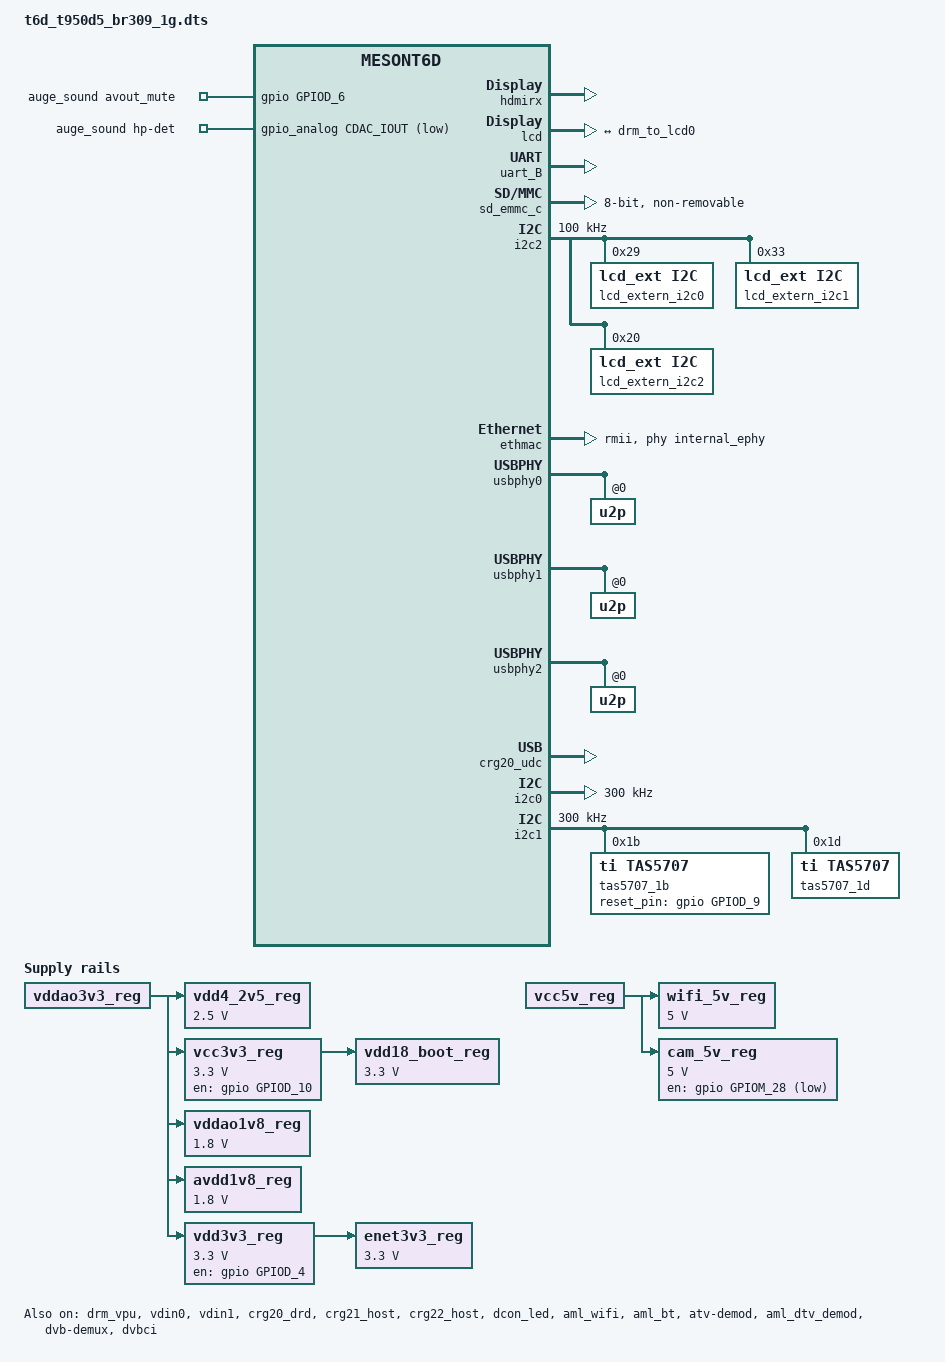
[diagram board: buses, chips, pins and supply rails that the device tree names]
// SPDX-License-Identifier: (GPL-2.0+ OR MIT)
/*
 * Copyright (c) 2019 Amlogic, Inc. All rights reserved.
 */

/dts-v1/;

#include "mesont6d.dtsi"
#include "hdr10plus.dtsi"
#include "mesont6d_drm.dtsi"
#include "firmware_ab.dtsi"
#include "mesont6d-panel.dtsi"
#include "mesont6d_audio.dtsi"

/ {
	amlogic-dt-id = "t6d_t950d5_br309-1g";
	compatible = "t6d_t950d5_br309-1g";
	interrupt-parent = <&gic>;
	#address-cells = <1>;
	#size-cells = <1>;

	aliases {
		serial0 = &uart_B;
		serial1 = &uart_A;
		serial2 = &uart_C;
		tsensor0 = &cpu_tsensor;
		tsensor1 = &top_tsensor;
		spi0 = &spi_nfc;
		spi1 = &spicc0;
		spi2 = &spicc1;
		i2c0 = &i2c0;
		i2c1 = &i2c1;
		i2c2 = &i2c2;
		i2c3 = &i2c3;
	};

	memory@0 {
		device_type = "memory";
		linux,usable-memory = <0x0 0x40000000>;
	};

	reserved-memory {
		#address-cells = <1>;
		#size-cells = <1>;
		ranges;

		/* global autoconfigured region for contiguous allocations */
		ramdump_bl33z {
			compatible = "shared-dma-pool";
			size = <0x01800000>;
			alignment = <0x00400000>;
			alloc-ranges = <0x05000000 0x07000000>;
			linux,contiguous-region;
			no-map;
			status = "disabled";
		};

		ramdump_data@0 {
			reg = <0x0 0x0>;
			status = "disabled"; /* disabled as default */
		};

		ramoops@6300000 {
			compatible = "ramoops";
			reg = <0x06300000 0x00080000>;/* addr set in uboot */
			record-size = <0x30000>;
			console-size = <0x40000>;
			ftrace-size = <0x0>;
			pmsg-size = <0x10000>;
		};

		dmc_reserved:linux,dmc_monitor {
			compatible = "amlogic,dmc_monitor-reserved";
			reg = <0x0 0x10000>;
		};

		debug_reserved:linux,iotrace {
			compatible = "amlogic, iotrace";
			reg = <0x04f00000 0x00100000>;
			io-size = <0x19800>;
			sched-size = <0x2000>;
			irq-size = <0x1000>;
			smc-size = <0x1000>;
			misc-size = <0x1000>;
			iotm-size = <0x3a980>; //240k; v1:20000; v2:15000
		};

		secmon_reserved:linux,secmon {
			compatible = "shared-dma-pool";
			no-map;
			alignment = <0x00100000>;
			reg = <0x05000000 0x01300000>;
		};

		logo_reserved:linux,meson-fb {
			compatible = "amlogic, meson-fb";
			size = <0x800000>;
			alignment = <0x400000>;
			reg = <0x3f800000 0x800000>;
		};

		lcd_cma_reserved:linux,lcd-reserved {
			compatible = "amlogic, lcd_rsvd";
			reg = <0x3f000000 0x00410000>;
			tcon-size = <0x00202840>;
		};

		dmaheap_cma_reserved:heap-gfx {
			compatible = "shared-dma-pool";
			reusable;
			/* 1080p TV android16 size 88M */
			size = <0x0>;
			alignment = <0x400000>;
		};

		dmaheap_fb_reserved:heap-fb {
			compatible = "shared-dma-pool";
			reusable;
			/* 1080p TV android16 size 28M */
			size = <0x1c00000>;
			alignment = <0x400000>;
		};

		/*  vdin0 CMA pool */
		/*vdin0_cma_reserved:linux,vdin0_cma {*/
		/*	compatible = "shared-dma-pool";*/
		/*	reusable;*/
			/* up to 1920x1080 yuv422 8bit and 5 buffers
			 * 1920x1080x2x5 = 20 M
			 */
		/*	size = <0x0 0x01400000>;*/
		/*	alignment = <0x0 0x400000>;*/
		/*};*/
		/*  vdin1 CMA pool */
		vdin1_cma_reserved:linux,vdin1_cma {
			compatible = "shared-dma-pool";
			reusable;
			size = <0x800000>;
			alignment = <0x400000>;
		};

		codec_mm_cma:linux,codec_mm_cma {
			compatible = "shared-dma-pool";
			reusable;
			/*
			 * Scenario: DVB-T2 2K interlace HE
			 * Total size: 106M
			 * Note:
			 *  setting to 108M if scatter_alloc_mode is 0.
			 *  setting to 108M if scatter_alloc_mode is 1.
			 */
			size = <0x6c00000>;
			alignment = <0x400000>;
			alloc-ranges = <0x30000000 0x10000000>;
			linux,contiguous-region;
		};

		secure_vdec_reserved:linux,secure_vdec_reserved {
			compatible = "amlogic, secure-vdec-reserved";
			no-map;
			size = <0x400000>;
			alignment = <0x100000>;
		};

		/* global autoconfigured region for contiguous allocations */
		linux,cma {
			compatible = "shared-dma-pool";
			reusable;
			size = <0x400000>;
			alignment = <0x400000>;
			alloc-ranges = <0x30000000 0x10000000>;
			linux,cma-default;
		};
	};

	vdd4_2v5_reg: fixed@vdd4_2v5_reg {
		compatible = "regulator-fixed";
		vin-supply = <&vddao3v3_reg>;
		regulator-name = "DDR4_2V5";
		regulator-min-microvolt = <2500000>;
		regulator-max-microvolt = <2500000>;
		regulator-boot-on;
		regulator-always-on;
	};

	vcc3v3_reg: fixed@vcc3v3_reg {
		vin-supply = <&vddao3v3_reg>;
		compatible = "regulator-fixed";
		regulator-name = "VCC_3V3";
		regulator-min-microvolt = <3300000>;
		regulator-max-microvolt = <3300000>;
		pinctrl-names = "default";
		gpio = <&gpio GPIOD_10 GPIO_ACTIVE_HIGH>;
		startup-delay-us = <7000>;
		enable-active-high;
		regulator-boot-on;
		regulator-always-on;
	};

	vddao1v8_reg: fixed@vddao1v8_reg {
		vin-supply = <&vddao3v3_reg>;
		compatible = "regulator-fixed";
		regulator-name = "VDDAO_1V8";
		regulator-min-microvolt = <1800000>;
		regulator-max-microvolt = <1800000>;
		regulator-boot-on;
		regulator-always-on;
	};

	vdd18_boot_reg: fixed@vdd18_boot_reg {
		vin-supply = <&vcc3v3_reg>;
		compatible = "regulator-fixed";
		regulator-name = "VDD18_BOOT";
		regulator-min-microvolt = <3300000>;
		regulator-max-microvolt = <3300000>;
		regulator-boot-on;
		regulator-always-on;
	};

	avdd1v8_reg: fixed@avdd1v8_reg {
		vin-supply = <&vddao3v3_reg>;
		compatible = "regulator-fixed";
		regulator-name = "AVDD1V8";
		regulator-min-microvolt = <1800000>;
		regulator-max-microvolt = <1800000>;
		regulator-boot-on;
		regulator-always-on;
	};

	vdd3v3_reg: fixed@vdd3v3_reg {
		vin-supply = <&vddao3v3_reg>;
		compatible = "regulator-fixed";
		regulator-name = "VDD_3V3";
		regulator-min-microvolt = <3300000>;
		regulator-max-microvolt = <3300000>;
		pinctrl-names = "default";
		gpio = <&gpio GPIOD_4 GPIO_ACTIVE_HIGH>;
		startup-delay-us = <7000>;
		enable-active-high;
		regulator-boot-on;
		regulator-always-on;
	};

	enet3v3_reg: fixed@enet3v3_reg {
		vin-supply = <&vdd3v3_reg>;
		compatible = "regulator-fixed";
		regulator-name = "AVDD33_ENET";
		regulator-min-microvolt = <3300000>;
		regulator-max-microvolt = <3300000>;
		regulator-boot-on;
		regulator-always-on;
	};

	wifi_5v_reg: fixed@wifi_5v_reg {
		compatible = "regulator-fixed";
		vin-supply = <&vcc5v_reg>;
		regulator-name = "WIFI_5V";
		regulator-min-microvolt = <5000000>;
		regulator-max-microvolt = <5000000>;
		regulator-boot-on;
		regulator-always-on;
	};

	cam_5v_reg: fixed@cam_5v_reg {
		compatible = "regulator-fixed";
		vin-supply = <&vcc5v_reg>;
		regulator-name = "CAM_5V_EN";
		regulator-min-microvolt = <5000000>;
		regulator-max-microvolt = <5000000>;
		//gpio OD , Default OFF
		gpio = <&gpio GPIOM_28 (GPIO_ACTIVE_HIGH | GPIO_OPEN_DRAIN)>;
		startup-delay-us = <7000>;
		enable-active-low;
		regulator-boot-on;
		//regulator-always-on;
	};

	multi-di {
		/***************************************************
		 * memory: default is 4
		 *	0:use reserved;
		 *	1:use cma;
		 *	2:use cma as reserved
		 *  4:use codec mem
		 ***************************************************/
		flag_cma = <4>;//
		//memory-region = <&di_cma_reserved>;
		/***************************************************
		 * clock-range: <min max>
		 *	default: <334 667>
		 ***************************************************/
		//clock-range = <334 667>;
		/***************************************************
		 * en_4k: t5w support 4k
		 ***************************************************/
		//en_4k = <1>;
		//keep_dec_vf = <2>;
		//po_fmt = <6>;
		/***************************************************
		 * post_nub: default is 11 (T7/T3/SC2/S4 new path)
		 * local 7*4075520 = 28
		 * post 11*5222400 = 56 //??
		 ***************************************************/
		post_nub = <11>;
		/***************************************************
		 * 0:not support
		 * bit 0: for 4k
		 * bit 1: for 1080p
		 ***************************************************/
		//alloc_sct = <1>;
		/***************************************************
		 * hf: default is 0 (T7/T3/SC2/S4 new path)
		 * 0:not enable;
		 * 1: enable
		 ***************************************************/
		hf = <0>;
		//afbce_loss_en = <1>;
		/***************************************************
		 * loss mode for di out (T5w)
		 * 0:not set loss mode for di out;
		 * 1:1:check the loss flag in vf and set for di
		 ***************************************************/
	};/* end of multi-di */

	/* for external keypad */
	adc_keypad {
		compatible = "amlogic, adc_keypad";
		status = "disabled";
		key_name = "power", "vol-", "vol+", "ok", "menu",
			   "source", "exit";
		key_num = <7>;
		io-channels = <&saradc SARADC_CH1>, <&saradc SARADC_CH2>;
		io-channel-names = "key-chan-1", "key-chan-2";
		key_chan = <SARADC_CH1 SARADC_CH1 SARADC_CH1 SARADC_CH1
			    SARADC_CH2 SARADC_CH2 SARADC_CH2>;
		key_code = <KEY_POWER KEY_VOLUMEDOWN KEY_VOLUMEUP KEY_ENTER
			    KEY_MENU KEY_FN_F1 KEY_EXIT>;
		key_val = <0 252 468 684 0 252 468>; // Unit: millivolt
		key_tolerance = <70 70 70 70 70 70 70>; // Unit: millivolt
	};

	/* Audio Related start */
	auge_sound {
		compatible = "amlogic, auge-sound-card";
		aml-audio-card,name = "AML-AUGESOUND";
		avout_mute-gpios = <&gpio GPIOD_6 GPIO_ACTIVE_HIGH>;
		av_mute_sleep_time = <600>;
		/* headphone insert det */
		hp-det-gpios = <&gpio_analog CDAC_IOUT GPIO_ACTIVE_LOW>;
		interrupts = <GIC_SPI 149 IRQ_TYPE_EDGE_RISING>;
		interrupt-names = "audio_exception64";

		aml-audio-card,dai-link@0 {
			format = "i2s";
			mclk-fs = <256>;
			//continuous-clock;
			//bitclock-inversion;
			//frame-inversion;
			/* master mode */
			bitclock-master = <&tdma>;
			frame-master = <&tdma>;
			/* slave mode */
			/*
			 * bitclock-master = <&tdmacodec>;
			 * frame-master = <&tdmacodec>;
			 */
			/* suffix-name, sync with android audio hal used for */
			suffix-name = "alsaPORT-pcm";
			tdmacpu: cpu {
				sound-dai = <&tdma>;
				dai-tdm-slot-tx-mask =
							<1 1>;
				dai-tdm-slot-rx-mask =
							<1 1>;
				dai-tdm-slot-num = <2>;
				dai-tdm-slot-width = <32>;
				system-clock-frequency = <12288000>;
			};
			tdmacodec: codec {
				sound-dai = <&dummy_codec>;
			};
		};

		aml-audio-card,dai-link@1 {
			format = "i2s";
			mclk-fs = <256>;
			continuous-clock;
			//bitclock-inversion;
			//frame-inversion;
			/* master mode */
			bitclock-master = <&tdmb>;
			frame-master = <&tdmb>;
			/* slave mode */
			//bitclock-master = <&tdmbcodec>;
			//frame-master = <&tdmbcodec>;
			/* suffix-name, sync with android audio hal used for */
			suffix-name = "alsaPORT-i2s-i2s4hdmirx";
			cpu {
				sound-dai = <&tdmb>;
				dai-tdm-slot-tx-mask = <1 1>;
				dai-tdm-slot-rx-mask = <1 1>;
				dai-tdm-slot-num = <2>;
				dai-tdm-slot-width = <32>;
				system-clock-frequency = <12288000>;
			};
			tdmbcodec: codec {
				prefix-names = "AMP","AMP1","AMP2";
				sound-dai = <&acodec &tas5707_1b &tas5707_1d>;
			};
		};

		aml-audio-card,dai-link@2 {
			format = "i2s";
			mclk-fs = <256>;
			//continuous-clock;
			//bitclock-inversion;
			//frame-inversion;
			/* master mode */
			bitclock-master = <&tdmc>;
			frame-master = <&tdmc>;
			/* slave mode */
			//bitclock-master = <&tdmccodec>;
			//frame-master = <&tdmccodec>;
			/* suffix-name, sync with android audio hal used for */
			suffix-name = "alsaPORT-i2s4parser";
			cpu {
				sound-dai = <&tdmc>;
				dai-tdm-slot-tx-mask = <1 1>;
				dai-tdm-slot-rx-mask = <1 1>;
				dai-tdm-slot-num = <2>;
				dai-tdm-slot-width = <32>;
				system-clock-frequency = <12288000>;
			};
			tdmccodec: codec {
				sound-dai = <&dummy_codec>;
			};
		};

		aml-audio-card,dai-link@3 {
			mclk-fs = <64>;
			/* suffix-name, sync with android audio hal used for */
			suffix-name = "alsaPORT-pdm-builtinmic";
			cpu {
				sound-dai = <&pdma>;
			};
			codec {
				sound-dai = <&dummy_codec>;
			};
		};

		aml-audio-card,dai-link@4 {
			mclk-fs = <128>;
			continuous-clock;
			/* suffix-name, sync with android audio hal used for */
			suffix-name = "alsaPORT-spdif";
			cpu {
				sound-dai = <&spdifa>;
				system-clock-frequency = <6144000>;
			};
			codec {
				sound-dai = <&dummy_codec>;
			};
		};

		aml-audio-card,dai-link@5 {
			mclk-fs = <128>;
			continuous-clock;
			suffix-name = "alsaPORT-spdifb";
			cpu {
				sound-dai = <&spdifb>;
				system-clock-frequency = <6144000>;
			};
			codec {
				sound-dai = <&dummy_codec>;
			};
		};

		aml-audio-card,dai-link@6 {
			mclk-fs = <256>;
			suffix-name = "alsaPORT-tv";
			cpu {
				sound-dai = <&extn>;
				system-clock-frequency = <12288000>;
			};
			codec {
				sound-dai = <&dummy_codec>;
			};
		};

		aml-audio-card,dai-link@7 {
			mclk-fs = <256>;
			continuous-clock;
			suffix-name = "alsaPORT-loopback";
			cpu {
				sound-dai = <&loopbacka>;
				system-clock-frequency = <12288000>;
			};
			codec {
				sound-dai = <&dummy_codec>;
			};
		};
		aml-audio-card,dai-link@8 {
			mclk-fs = <256>;
			continuous-clock;
			suffix-name = "alsaPORT-mixer";
			cpu {
				sound-dai = <&mixer>;
				system-clock-frequency = <12288000>;
			};
			codec {
				sound-dai = <&dummy_codec>;
			};
		};
	};
	/* Audio Related end */

	atv-demod {
		compatible = "amlogic, atv-demod";
		status = "okay";
		btsc_sap_mode = <1>;
		interrupts = <0 94 1>;
		pinctrl-names="atvdemod_agc_pins";
		pinctrl-0=<&atvdemod_agc_pins>;
		reg = <0xfe0be000 0x2000    // demod reg
				0xfe000000 0x2000   // hiu reg
				0x0 0x0             // periphs reg
				0xfe0bc000 0x2000>; // adec reg
		common_agc = <1>;
	};

	aml_dtv_demod {
		compatible = "amlogic, ddemod-t6d";
		dev_name = "aml_dtv_demod";
		status = "okay";
		diseqc_name = "TMI8037";
		pinctrl-names="if_agc_pins", "diseqc_out", "rf_agc_pins";
		pinctrl-0=<&dtvdemod_if_agc_pins>;
		pinctrl-1=<&diseqc_out>;
		pinctrl-2=<&dtvdemod_rf_agc_pins>;
		//pinctrl-3=<&diseqc_in>;
		lnb_en-gpios = <&gpio GPIOZ_2 GPIO_ACTIVE_HIGH>;
		lnb_sel-gpios = <&gpio GPIOZ_3 GPIO_ACTIVE_HIGH>;
		interrupts = <GIC_SPI 87 IRQ_TYPE_EDGE_RISING>;
		interrupt-names = "demod_isr";
		power-domains = <&pwrdm PDID_T6D_DEMOD>;
		clocks = <&clkc CLKID_DEMOD_32K>;
		clock-names = "demod_32k";
		reg = <0xfe310000 0x10000	//dtv demod base
			   0xfe000000 0x2000	//hiu reg base
			   0xff800000 0x40000	//io_aobus_base
			   0xfe002000 0x2000>;	//reset

		spectrum = <1>;
		cma_mem_size = <16>; // MB
	};

	dvb-extern {
		compatible = "amlogic, dvb-extern";
		dev_name = "dvb-extern";
		status = "okay";

		fe_num = <2>;
		fe0_demod = "internal";

		fe1_demod = "dummy";
		fe1_ts = <3>;
		tuner_num = <1>; // tuner number, multi tuner support

		tuner0_name = "rt710_tuner";
		tuner0_i2c_adap = <&i2c0>;
		tuner0_i2c_addr = <0xF4>; // 8 bits
		tuner0_xtal = <0>;       // 0: 16MHz, 1: 24MHz
		tuner0_xtal_mode = <0>;  // NO_SHARE_XTAL(0), SLAVE_XTAL_SHARE(3)
		tuner0_xtal_cap = <30>;
	};

	dvb-demux {
		compatible = "amlogic sc2, dvb-demux"; /* same as sc2 */
		dev_name = "dvb-demux";
		status = "okay";

		reg = <0xfe000000 0x480000>;

		dmxdev_num = <0x8>;

		tsn_from = "demod";
		ts_clone = <0x0>;
		/*single demod setting */
		ts1_sid = <0x21>;
		ts1 = "parallel";
		ts1_control = <0x0>;
		ts1_invert = <0>;

		ts2_sid = <0x22>;
		ts2 = "parallel";
		ts2_control = <0x0>;
		ts2_invert = <0>;
		pinctrl-names = "p_ts1";
		pinctrl-0 = <&dvb_p_ts1_pins>;

		ts3_sid = <0x7>;

	};

	dvbci {
		compatible = "amlogic, dvbci";
		dev_name = "dvbci";
		status = "okay";

		io_type = <4>; /* 0=iobus,1=spi,2=cimax,3=spi-t312 4:T5D,ci bus*/
		addr_ts_mode_multiplex = <0>; /*AY301 not multi ts and addr,default 1*/
		le_enable_level = <0>; /*LE pin enable level*/
		/*gpio pin define*/
		pinctrl-names= "ci_ts_pins", "ci_addr_pins";
		pinctrl-0=<&dvb_ci_bus_pins_all &ci_ts_pins &ci_ts_clk_pins>;
		pinctrl-1=<&dvb_ci_bus_pins &ci_addr_pins &ci_gpio_pins>;
		reg = <0xFE080000 0x1FFF>;
		vcc5v-supply = <&cam_5v_reg>;
		/*irq define, t5m not use these irq*/
		//interrupts = <0 186 1
		//		0 187 1>;
		//interrupt-names = "irq_cmp",
		//			"irq_timeout";
		dvbci_io {
			/*gpio define  GPIOM_27 GPIOM_28 GPIOM_30*/
			cd_pin1 = <&gpio       GPIOM_27       GPIO_ACTIVE_HIGH>;
			//pwr_pin = <&gpio       GPIOM_28       GPIO_ACTIVE_HIGH>;
			le_pin = <&gpio       GPIOM_29       GPIO_ACTIVE_HIGH>;
		};
	};

	smartcard {
		compatible = "amlogic,smartcard-sc2";
		dev_name = "smartcard";
		status = "disabled"; /* disabled as default */

		reg = <0xfe000000 0x480000>;
		irq_trigger_type = "GPIO_IRQ_LOW";

		reset_pin-gpios = <&gpio GPIOZ_3 GPIO_ACTIVE_HIGH>;
		detect_pin-gpios = <&gpio GPIOM_27 GPIO_ACTIVE_HIGH>;
		enable_5v3v_pin-gpios = <&gpio GPIOM_28 GPIO_ACTIVE_HIGH>;
		enable_pin-gpios = <&gpio GPIOZ_2 GPIO_ACTIVE_HIGH>;

		interrupts = <0 174 1>;
		interrupt-names = "smc0_irq";
		/*
		 *Smc clock source, if change this,
		 *you must adjust clk and divider in smartcard.c
		 */
		smc0_clock_source = <0>;
		/*0: high voltage on detect pin indicates card in.*/
		smc0_det_invert = <0>;
		smc0_5v3v_level = <0>;
		/*Ordinarily,smartcard controller needs a enable pin.*/
		smc_need_enable_pin = "yes";
		reset_level = <0>;
		smc0_enable_level = <0>;

		pinctrl-names = "default";
		pinctrl-0 = <&sd_iso7816_pins>;

		clocks = <&clkc CLKID_SC_CLK>;
		clock-names = "smartcard";
	};
}; /* end of / */

&hdmirx {
	status = "okay";
	pinctrl-0 = <&hdmirx_a_mux &hdmirx_b_mux
		&hdmirx_c_mux>;
	en_4k_2_2k = <0>;
	hpd_low_cec_off = <1>;
	arc_port = <0>;
	/* bit4: enable feature, bit3~0: port number */
	disable_port = <0x0>;
};

&drm_vpu {
	status = "okay";
	logo_addr = "0x3f800000";

	connectors_dev: port@1 {
		drm_to_lcd0: endpoint@1 {
			reg = <1>;
			remote-endpoint = <&lcd0_to_drm>;
		};
	};
};

&lcd {
	ports {
		port {
			#address-cells = <1>;
			#size-cells = <0>;
			lcd0_to_drm: endpoint@0 {
				reg = <0>;
				remote-endpoint = <&drm_to_lcd0>;
			};
		};
	};
};

&uart_B {
	status = "okay";
};

/*if you want to use vdin just modify status to "ok"*/
&vdin0 {
	/*memory-region = <&vdin0_cma_reserved>;*/
	status = "okay";
	/*MByte, if 10bit disable: 64M(YUV422),
	 *if 10bit enable: 64*1.5 = 96M(YUV422)
	 *if support 4K2K-YUV444-10bit-WR:3840*2160*4*4 ~= 128M
	 *if support 4K2K-YUV422-10bit-wr:3840*2160*3*4 ~= 96M
	 *if support 4K2K-YUV422-8BIT-WR:3840*2160*2*4 ~= 64M
	 *if support 1080p-YUV422-8BIT-WR:1920*1080*2*4 ~= 16M
	 * onebuffer:
	 * worst case:(4096*2160*3 + 2M(afbce issue)) = 27.5M
	 * dw:960x540x3 = 1.5M
	 * total size:(27.5+1.5)x buffernumber
	 */
	cma_size = <330>;
	frame_buff_num = <10>;
};

&vdin1 {
	memory-region = <&vdin1_cma_reserved>;
	status = "okay";
};

&sd_emmc_c {
	status = "okay";
	run-low-mem;
	pinctrl-0 = <&emmc_pins>, <&emmc_ds_pins>;
	pinctrl-1 = <&emmc_clk_gate_pins>;
	pinctrl-names = "default", "clk-gate";

	bus-width = <8>;
	cap-mmc-highspeed;
	//mmc-ddr-1_8v;
	mmc-hs200-1_8v;
	mmc-hs400-1_8v;
	max-frequency = <200000000>;
	non-removable;
	disable-wp;
//	amlogic,dram-access-quirk;

//	mmc-pwrseq = <&emmc_pwrseq>;
//	vmmc-supply = <&vddao_3v3>;
//	vqmmc-supply = <&vddao_1v8>;
};

&mtd_nand {
	status = "disabled"; /* disabled as default */
	#address-cells = <1>;
	#size-cells = <0>;

	pinctrl-names = "nand_norb_mod","nand_cs_only";
	pinctrl-0 = <&all_nand_pins>;
	pinctrl-1 = <&nand_cs_pins>;
	bl_mode = <2>;
	fip_copies = <4>;
	fip_size = <0x200000>;
	ship_bad_block = <1>;
	disa_irq_flag = <1>;
	nand@0 {
		reg = <0>;
		#address-cells = <1>;
		#size-cells = <1>;
		nand-ecc-maximize;
	};
};

&spi_nfc {
	status = "disabled";
	pinctrl-names = "default";
	pinctrl-0 = <&spinf_pins>;
	spi-nand@0 {
		compatible = "spi-nand";
		status = "disabled";
		reg = <0>;
		spi-max-frequency = <83000000>;
		spi-tx-bus-width = <4>;
		spi-rx-bus-width = <4>;
	};
	spi-nor@0 {
		compatible = "spi-nor";
		status = "okay";
		reg = <0>;
		spi-tx-bus-width = <4>;
		spi-rx-bus-width = <4>;
		spi-max-frequency = <83000000>;
	};
};

&periphs_pinctrl {
	/*backlight*/
	bl_pwm_vs_on_pins:bl_pwm_vs_on_pin {
		mux {
			groups = "pwm_vs_h12";
			function = "pwm_vs";
		};
	};
	bl_pwm_off_pins:bl_pwm_off_pin {
		mux {
			groups = "GPIOH_12";
			function = "gpio_periphs";
			output-low;
		};
	};
	ST6451D06_3_pins: ST6451D06_3_pin {
		mux {
			groups = "tcon_1","tcon_2","tcon_3",
				"tcon_4","tcon_5","tcon_6",
				"tcon_8","tcon_lock";
			function = "tcon";
		};
	};
	ST6451D06_3_off_pins: ST6451D06_3_off_pin {
		mux {
			groups = "GPIOH_1","GPIOH_2","GPIOH_3",
				"GPIOH_4","GPIOH_5","GPIOH_6",
				"GPIOH_8", "GPIOH_0";
				function = "gpio_periphs";
			input-enable;
		};
	};
	ST5461D18_2_pins: ST5461D18_2_pin {
		mux {
			groups = "tcon_1","tcon_2","tcon_3",
				"tcon_4","tcon_5","tcon_6",
				"tcon_8","tcon_lock";
			function = "tcon";
		};
	};
	ST5461D18_2_off_pins: ST5461D18_2_off_pin {
		mux {
			groups = "GPIOH_1","GPIOH_2","GPIOH_3",
				"GPIOH_4","GPIOH_5","GPIOH_6",
				"GPIOH_8","GPIOH_0";
				function = "gpio_periphs";
			input-enable;
		};
	};
};

&i2c2 {
	status = "okay";
	clock-frequency = <100000>;
	pinctrl-names = "default", "sleep";
	pinctrl-0 = <&i2c2_pins2>;
	pinctrl-1 = <&i2c2_pins2_sleep>;

	lcd_extern_i2c0: lcd_extern_i2c@29 {
		compatible = "lcd_ext, i2c";
		dev_name = "i2c_HV650LS";
		reg = <0x29>;
		status = "okay";
	};

	lcd_extern_i2c1: lcd_extern_i2c@33 {
		compatible = "lcd_ext, i2c";
		dev_name = "i2c_CS602";
		reg = <0x33>;
		status = "okay";
	};

	lcd_extern_i2c2: lcd_extern_i2c@20 {
		compatible = "lcd_ext, i2c";
		dev_name = "i2c_CS901";
		reg = <0x20>;
		status = "okay";
	};
};

&ethmac {
	status = "okay";
	phy-handle = <&internal_ephy>;
	phy-mode = "rmii";
	amlogic,wol-enable;
};

&usbphy0 {
	status = "okay";
	u2p@0 {
		status = "okay";
		port-speed = <0x0>; /* 0~2: HS HSP SS */
		/* clk src mux.
		 * HS: 0 is the only valid selector.
		 * HSP: 0: 48m soc-digital clk(default).
		 * [1~3]: phyclk/soc-digital/soc-analog.
		 * NOTE:
		 * For option 0&2&3, the assigned-clocks props MUST be included.
		 */
		clk-mux = <0x0>;
		controller-type = <3>; /* 0~3: normal, host, device, otg */
	};
};

&usbphy1 {
	status = "okay";
	u2p@0 {
		status = "okay";
	};
};

&usbphy2 {
	status = "okay";
	u2p@0 {
		status = "okay";
		port-speed = <0x0>; /* 0~2: HS HSP SS */
		clk-mux = <0x0>;
	};
};

&crg20_drd{
	status = "okay";
};

&crg20_udc{
	status = "okay";
};

&crg21_host{
	status = "okay";
};

&crg22_host{
	status = "okay";
};

&spicc0 {	//for TCON
	status = "disabled";/* disabled as default */
	pinctrl-names = "default";
	pinctrl-0 = <&spicc0_pins_h>;
};

&spicc1 {	//for UWB/LocalDimm
	status = "disabled";/* disabled as default */
	pinctrl-names = "default";
	pinctrl-0 = <&spicc1_pins_z>;
};

&ir {
	status = "disabled";
	pinctrl-names = "default";
	pinctrl-0 = <&remote_pins>;
};

&ir1 {
	status = "disabled"; /* disabled as default */
	pinctrl-names = "default";
	pinctrl-0 = <&remote_b_pins>;
};

&dcon_led {
	status = "okay";
	led_number = <1>;
	pinctrl-names = "default";
	pinctrl-0 = <&dcon_led_pins1>;
	// polarity-inversed;
};

&i2c0 {
	status = "okay";
	clock-frequency = <300000>;
	pinctrl-names = "default", "sleep";
	pinctrl-0 = <&i2c0_pins1>;
	pinctrl-1 = <&i2c0_pins1_sleep>;
};

&i2c1 {
	status = "okay";
	pinctrl-names = "default", "sleep";
	pinctrl-0 = <&i2c1_pins1>;
	pinctrl-1 = <&i2c1_pins1_sleep>;
	clock-frequency = <300000>; /* default 100k */
	tas5707_1b: tas5707_1b@1b {
		compatible = "ti,tas5707";
		#sound-dai-cells = <0>;
		reg = <0x1b>;
		status = "okay";
		reset_pin = <&gpio GPIOD_9 0>;
	};
	tas5707_1d: tas5707_1d@1d {
		compatible = "ti,tas5707";
		#sound-dai-cells = <0>;
		reg = <0x1d>;
		status = "okay";
		//reset_pin = <&gpio GPIOF_2 0>;
	};
};

&saradc {
	status = "disabled";
};

&CPU0 {
	#cooling-cells = <2>;
	operating-points-v2 = <&opp_table0>,
				<&opp_table1>,
				<&opp_table2>,
				<&opp_table3>;
};

&vdac {
	cdac_disable = <1>;
};

&amlvecm {
	compatible = "amlogic, vecm-t6d";
	dev_name = "aml_vecm";
	status = "disabled";
	gamma_en = <1>;/*1:enable ;0:disable*/
	wb_en = <1>;/*1:enable ;0:disable*/
	cm_en = <1>;/*1:enable ;0:disable*/
	wb_sel = <0>;/*1:mtx ;0:gainoff*/
	osd_pic_en = <1>;/*1:enable osd picture setting;0:disable*/
	vlock_en = <1>;/*1:enable;0:disable*/
	vlock_mode = <0x8>;
	//vrr_priority = <1>;/*1:game mode vrr always on;0:vrr on depend on vrr signal*/
	/*vlock work mode:
	 *bit0:auto ENC
	 *bit1:auto PLL
	 *bit2:manual PLL
	 *bit3:manual ENC
	 *bit4:manual soft ENC
	 *bit5:manual MIX PLL ENC
	 */
	vlock_pll_m_limit = <1>;
	vlock_line_limit = <2>;
	interrupts = <0 207 1>;
	interrupt-names = "lc_curve";
};

&aml_wifi{
	status = "okay";
	power_on-gpios = <&gpio   GPIOD_11  GPIO_ACTIVE_HIGH>;
	disable-wifi-32k;
};

&aml_bt {
	status = "okay";
	bt_en-gpios = <&gpio  GPIOD_11  GPIO_ACTIVE_HIGH>;
	hostwake-gpios = <&gpio  GPIOD_13  GPIO_ACTIVE_HIGH>;
	btwakeup-gpios = <&gpio  GPIOD_8  GPIO_ACTIVE_HIGH>;
	power_down_disable = <1>;
};

&tdmb {
	clocks = <&clkaudio CLKID_AUDIO_MCLK_B
				&clkc CLKID_HIFI_PLL
				&clkc CLKID_HIFI1_PLL
				&clkaudio CLKID_AUDIO_MCLK_PAD0>;
	clock-names = "mclk", "clk_srcpll", "clk_src_cd", "mclk_pad";
	pinctrl-names = "tdm_pins","tdm_gpio";
	pinctrl-0 = <
			&mclk_1_pin
			&tdmb_pin
			&tdm_d0_pins
			&tdmb_clk_pins>;
	pinctrl-1 = <&tdmb_gpio>;
};

&pdma {
	pinctrl-names = "pdm_pins";
	pinctrl-0 = <&pdmin>;
};

&spdifa {

		pinctrl-names = "spdif_pins",
			"spdif_pins_mute";
		pinctrl-0 = <&spdifout_a>;
		pinctrl-1 = <&spdifout_a_mute>;
};

&spdifb {
		pinctrl-names = "spdif_pins",
			"spdif_pins_mute";
		pinctrl-0 = <&spdifout_b>;
		pinctrl-1 = <&spdifout_b_mute>;
};
